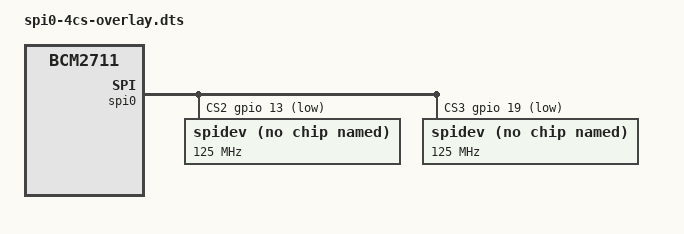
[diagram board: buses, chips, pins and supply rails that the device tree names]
/dts-v1/;
/plugin/;

/ {
   compatible = "brcm,bcm2835", "brcm,bcm2836", "brcm,bcm2708", "brcm,bcm2709", "brcm,bcm2711";

   fragment@0 {
      target = <&spi0>;
      frag0: __overlay__ {
         #address-cells = <1>;
         #size-cells = <0>;
         status = "okay";
         cs-gpios = <&gpio 8 1>, <&gpio 7 1>, <&gpio 13 1>, <&gpio 19 1>;

         spidev@2{
            compatible = "spidev";
            reg = <2>;   /* CE2 */
            #address-cells = <1>;
            #size-cells = <0>;
            spi-max-frequency = <125000000>;
         };

         spidev@3{
            compatible = "spidev";
            reg = <3>;   /* CE3 */
            #address-cells = <1>;
            #size-cells = <0>;
            spi-max-frequency = <125000000>;
         };
      };
   };

   fragment@1 {
      target = <&spi0_cs_pins>;
      frag1: __overlay__ {
        brcm,pins = <8 7 13 19>;
        brcm,function = <1>; /* out */
      };
   };

   __overrides__ {
      cs2_pin = <&frag0>,"cs-gpios:28", <&frag1>,"brcm,pins:8";
      cs3_pin = <&frag0>,"cs-gpios:40", <&frag1>,"brcm,pins:12";
   };
};

